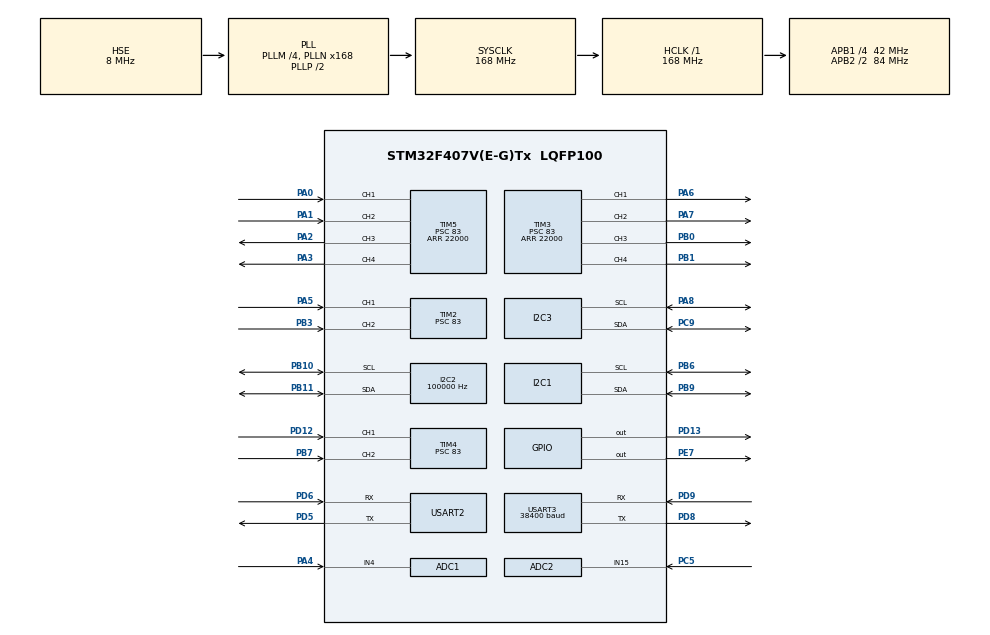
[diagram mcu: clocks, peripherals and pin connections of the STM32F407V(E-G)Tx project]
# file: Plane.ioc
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ADC1.Channel-0\#ChannelRegularConversion=ADC_CHANNEL_4
ADC1.ClockPrescaler=ADC_CLOCK_SYNC_PCLK_DIV4
ADC1.NbrOfConversionFlag=1
ADC1.Rank-0\#ChannelRegularConversion=1
ADC1.Resolution=ADC_RESOLUTION_12B
ADC1.SamplingTime-0\#ChannelRegularConversion=ADC_SAMPLETIME_3CYCLES
ADC1.master=1
ADC2.Channel-5\#ChannelRegularConversion=ADC_CHANNEL_15
ADC2.ClockPrescaler=ADC_CLOCK_SYNC_PCLK_DIV4
ADC2.NbrOfConversionFlag=1
ADC2.Rank-5\#ChannelRegularConversion=1
ADC2.SamplingTime-5\#ChannelRegularConversion=ADC_SAMPLETIME_3CYCLES
FREERTOS.Tasks01=defaultTask,24,128,StartDefaultTask,Default,NULL,Dynamic,NULL,NULL;sensorsUpdate,24,1024,sensorsUpdateTask,Default,NULL,Dynamic,NULL,NULL;modeUpdate,24,256,modeUpdateTask,Default,NULL,Dynamic,NULL,NULL;radioInputUpdat,24,512,radioInputUpdateTask,Default,NULL,Dynamic,NULL,NULL;loggerUpdate,8,1024,loggerUpdateTask,Default,NULL,Dynamic,NULL,NULL;actuatorsUpdate,24,512,actuatorsUpdateTask,Default,NULL,Dynamic,NULL,NULL;baroUpdate,8,1024,baroUpdateTask,Default,NULL,Dynamic,NULL,NULL;navUpdate,24,256,navUpdateTask,Default,NULL,Dynamic,NULL,NULL
FREERTOS.configTOTAL_HEAP_SIZE=61440
FREERTOS.configUSE_IDLE_HOOK=1
I2C1.I2C_Mode=I2C_Standard
I2C2.ClockSpeed=100000
I2C2.I2C_Mode=I2C_Standard
I2C2.OwnAddress=0x36
I2C3.I2C_Mode=I2C_Standard
Mcu.Family=STM32F4
Mcu.Name=STM32F407V(E-G)Tx
Mcu.Package=LQFP100
NVIC.PriorityGroup=NVIC_PRIORITYGROUP_4
NVIC.TIM2_IRQn=true\:5\:0\:false\:false\:true\:true\:true\:true
NVIC.TIM4_IRQn=true\:5\:0\:false\:false\:true\:true\:true\:true
NVIC.TIM5_IRQn=true\:5\:0\:false\:false\:true\:true\:true\:true
NVIC.TIM6_DAC_IRQn=true\:5\:0\:false\:false\:true\:true\:true\:true
NVIC.TIM8_TRG_COM_TIM14_IRQn=true\:0\:0\:false\:false\:true\:false\:false\:true
NVIC.TimeBase=TIM8_TRG_COM_TIM14_IRQn
NVIC.TimeBaseIP=TIM14
NVIC.USART2_IRQn=true\:5\:0\:false\:false\:true\:true\:true\:true
NVIC.USART3_IRQn=true\:5\:0\:false\:false\:true\:true\:true\:true
PA0-WKUP.Signal=S_TIM5_CH1
PA1.Signal=S_TIM5_CH2
PA2.GPIO_Speed=GPIO_SPEED_FREQ_HIGH
PA2.Signal=S_TIM5_CH3
PA3.Signal=S_TIM5_CH4
PA4.Signal=ADCx_IN4
PA5.Signal=S_TIM2_CH1_ETR
PA6.GPIO_Speed=GPIO_SPEED_FREQ_HIGH
PA6.Signal=S_TIM3_CH1
PA7.GPIO_Speed=GPIO_SPEED_FREQ_HIGH
PA7.Signal=S_TIM3_CH2
PA8.Mode=I2C
PA8.Signal=I2C3_SCL
PB0.GPIO_Speed=GPIO_SPEED_FREQ_HIGH
PB0.Signal=S_TIM3_CH3
PB1.GPIO_Speed=GPIO_SPEED_FREQ_HIGH
PB1.Signal=S_TIM3_CH4
PB10.Mode=I2C
PB10.Signal=I2C2_SCL
PB11.Mode=I2C
PB11.Signal=I2C2_SDA
PB3.Signal=S_TIM2_CH2
PB6.Mode=I2C
PB6.Signal=I2C1_SCL
PB7.Signal=S_TIM4_CH2
PB9.Mode=I2C
PB9.Signal=I2C1_SDA
PC5.Signal=ADCx_IN15
PC9.Mode=I2C
PC9.Signal=I2C3_SDA
PD12.Signal=S_TIM4_CH1
PD13.Signal=GPIO_Output
PD5.Mode=Asynchronous
PD5.Signal=USART2_TX
PD6.Mode=Asynchronous
PD6.Signal=USART2_RX
PD8.Mode=Asynchronous
PD8.Signal=USART3_TX
PD9.Mode=Asynchronous
PD9.Signal=USART3_RX
PE7.Signal=GPIO_Output
PH0-OSC_IN.Mode=HSE-External-Oscillator
PH0-OSC_IN.Signal=RCC_OSC_IN
PH1-OSC_OUT.Mode=HSE-External-Oscillator
PH1-OSC_OUT.Signal=RCC_OSC_OUT
ProjectManager.HeapSize=0x60000
ProjectManager.StackSize=0x80000
ProjectManager.TargetToolchain=STM32CubeIDE
RCC.48MHZClocksFreq_Value=84000000
RCC.AHBFreq_Value=168000000
RCC.APB1CLKDivider=RCC_HCLK_DIV4
RCC.APB1Freq_Value=42000000
RCC.APB1TimFreq_Value=84000000
RCC.APB2CLKDivider=RCC_HCLK_DIV2
RCC.APB2Freq_Value=84000000
RCC.APB2TimFreq_Value=168000000
RCC.CortexFreq_Value=168000000
RCC.HCLKFreq_Value=168000000
RCC.HSE_VALUE=8000000
RCC.HSI_VALUE=16000000
RCC.LSE_VALUE=32768
RCC.PLLM=4
RCC.PLLN=168
RCC.PLLSourceVirtual=RCC_PLLSOURCE_HSE
RCC.SYSCLKFreq_VALUE=168000000
RCC.SYSCLKSource=RCC_SYSCLKSOURCE_PLLCLK
RCC.VCOOutputFreq_Value=336000000
SH.ADCx_IN15.0=ADC2_IN15,IN15
SH.ADCx_IN4.0=ADC1_IN4,IN4
SH.S_TIM2_CH1_ETR.0=TIM2_CH1,Input_Capture1_from_TI1
SH.S_TIM2_CH2.0=TIM2_CH2,Input_Capture2_from_TI2
SH.S_TIM3_CH1.0=TIM3_CH1,PWM Generation1 CH1
SH.S_TIM3_CH2.0=TIM3_CH2,PWM Generation2 CH2
SH.S_TIM3_CH3.0=TIM3_CH3,PWM Generation3 CH3
SH.S_TIM3_CH4.0=TIM3_CH4,PWM Generation4 CH4
SH.S_TIM4_CH1.0=TIM4_CH1,Input_Capture1_from_TI1
SH.S_TIM4_CH2.0=TIM4_CH2,Input_Capture2_from_TI2
SH.S_TIM5_CH1.0=TIM5_CH1,Input_Capture1_from_TI1
SH.S_TIM5_CH2.0=TIM5_CH2,Input_Capture2_from_TI2
SH.S_TIM5_CH3.0=TIM5_CH3,PWM Generation3 CH3
SH.S_TIM5_CH4.0=TIM5_CH4,PWM Generation4 CH4
TIM2.Channel-Input_Capture1_from_TI1=TIM_CHANNEL_1
TIM2.Channel-Input_Capture2_from_TI2=TIM_CHANNEL_2
TIM2.Period=65536
TIM2.Prescaler=83
TIM3.Channel-PWM\ Generation1\ CH1=TIM_CHANNEL_1
TIM3.Channel-PWM\ Generation2\ CH2=TIM_CHANNEL_2
TIM3.Channel-PWM\ Generation3\ CH3=TIM_CHANNEL_3
TIM3.Channel-PWM\ Generation4\ CH4=TIM_CHANNEL_4
TIM3.Period=22000
TIM3.Prescaler=83
TIM4.Channel-Input_Capture1_from_TI1=TIM_CHANNEL_1
TIM4.Channel-Input_Capture2_from_TI2=TIM_CHANNEL_2
TIM4.Prescaler=83
TIM5.Channel-Input_Capture1_from_TI1=TIM_CHANNEL_1
TIM5.Channel-Input_Capture2_from_TI2=TIM_CHANNEL_2
TIM5.Channel-PWM\ Generation3\ CH3=TIM_CHANNEL_3
TIM5.Channel-PWM\ Generation4\ CH4=TIM_CHANNEL_4
TIM5.Period=22000
TIM5.Prescaler=83
TIM6.Period=99
TIM6.Prescaler=83
TIM6.TIM_MasterOutputTrigger=TIM_TRGO_UPDATE
USART2.VirtualMode=VM_ASYNC
USART3.BaudRate=38400
USART3.VirtualMode=VM_ASYNC
VP_FREERTOS_VS_CMSIS_V2.Mode=CMSIS_V2
VP_SYS_VS_tim14.Mode=TIM14
VP_TIM2_VS_ClockSourceINT.Mode=Internal
VP_TIM3_VS_ClockSourceINT.Mode=Internal
VP_TIM4_VS_ClockSourceINT.Mode=Internal
VP_TIM5_VS_ClockSourceINT.Mode=Internal
VP_TIM6_VS_ClockSourceINT.Mode=Enable_Timer
board=custom

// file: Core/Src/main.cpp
/* USER CODE BEGIN Header */
/**
  ******************************************************************************
  * @file           : main.c
  * @brief          : Main program body
  ******************************************************************************
  * @attention
  *
  * <h2><center>&copy; Copyright (c) 2020 STMicroelectronics.
  * All rights reserved.</center></h2>
  *
  * This software component is licensed by ST under BSD 3-Clause license,
  * the "License"; You may not use this file except in compliance with the
  * License. You may obtain a copy of the License at:
  *                        opensource.org/licenses/BSD-3-Clause
  *
  ******************************************************************************
  */
/* USER CODE END Header */
#include "main.h"
#include "cmsis_os.h"

/* USER CODE BEGIN Includes */
#include "math.h"
#include <stdio.h>
#include "Servo/Servo.h"
#include "Beeper/Beeper.h"
#include "Baro/MS5611.h"
#include "AirSpeed/MS4525DO.h"
#include "Gyro/bno055.h"
#include "PIReg/PIReg.h"
#include "Beta/P3002.h"
#include "PWMCapturer/PWMCapturer.h"
#include "Gps/Gps.h"
#include "Modes/Nav/Nav.h"
/* USER CODE END Includes */

/* USER CODE BEGIN PD */

//--------------------DEBUG DEFINES-----------------------

#define BARO_DEBUG 0
#define GYRO_DEBUG 1
#define AIR_DEBUG 2
#define RADIO_DEBUG 3
#define BETA_DEBUG 4

//#define DEBUG_MODE AIR_DEBUG//раскоментить для отладки. присвоить одно из значений выше

/* USER CODE END PD */

ADC_HandleTypeDef hadc1;
ADC_HandleTypeDef hadc2;

I2C_HandleTypeDef hi2c1;
I2C_HandleTypeDef hi2c2;
I2C_HandleTypeDef hi2c3;

TIM_HandleTypeDef htim2;
TIM_HandleTypeDef htim3;
TIM_HandleTypeDef htim4;
TIM_HandleTypeDef htim5;
TIM_HandleTypeDef htim6;

UART_HandleTypeDef huart2;
UART_HandleTypeDef huart3;

/* USER CODE BEGIN PV */
enum Channels
{
	THR,
	ELEV,
	AIL1,
	AIL2,
	RUD,
	SWITCHA,
	SLIDER,
	CHANNELS_ARRAY_SIZE,
};
enum Sensors
{
	BARO,
	AIR,
	GYROX,
	GYROY,
	GYROZ,
	BAROVY,
	NZ,
	TETA,
	GAMMA,
	PSI,
	LATITUDE,
	LONGITUDE,
	GPS_SPEED,
	TRACK,
	GPS_VALID,
	BAROFILTERED,
	SENSOR_ARRAY_SIZE, //этот элемент всегда должен быть последним в енуме
};
enum Modes
{
	PREFLIGHTCHECK,
	DIRECT,
	OMEGA_STAB,
	COMMAND,
	DIRECT_FLAPS,
	OMEGA_STAB_K_TUNE,
	OMEGA_STAB_I_TUNE,
	VY_STAB_K_TUNE,
	NAV,
};
enum Logs
{
	OMEGA_X_ZAD,
	OMEGA_Y_ZAD,
	OMEGA_Z_ZAD,
	K_PR_OMEGA_X,
	K_INT_OMEGA_X,
	K_PR_OMEGA_Y,
	K_INT_OMEGA_Y,
	K_PR_OMEGA_Z,
	K_INT_OMEGA_Z,
	VY_ZAD,
	ALT_FILTERED,
	OMEGA_TURN_ZAD,
	GAMMA_ZAD,
	ALT_ZAD,
	LOG_ARRAY_SIZE,
};

enum Omega_targets
{
	X,
	Y,
	Z,
	OMEGA_TURN_FROM_NAV,
	OMEGA_ARRAY_SIZE,
};

enum Velocity_targets
{
	VY,
	VELOCITY_ARRAY_SIZE,
};

//--------------------Threads-----------------------

/* Definitions for defaultTask */
extern osThreadId_t defaultTaskHandle;
extern const osThreadAttr_t defaultTask_attributes;

/* Definitions for sensorsUpdate */
extern osThreadId_t sensorsUpdateHandle;
extern const osThreadAttr_t sensorsUpdate_attributes;

/* Definitions for modeUpdate */
extern osThreadId_t modeUpdateHandle;
extern const osThreadAttr_t modeUpdate_attributes;

/* Definitions for radioInputUpdat */
extern osThreadId_t radioInputUpdatHandle;
extern const osThreadAttr_t radioInputUpdat_attributes;

/* Definitions for actuatorsUpdate */
extern osThreadId_t actuatorsUpdateHandle;
extern const osThreadAttr_t actuatorsUpdate_attributes;

/* Definitions for loggerUpdate */
extern osThreadId_t loggerUpdateHandle;
extern const osThreadAttr_t loggerUpdate_attributes;

/* Definitions for baroUpdate */
extern osThreadId_t baroUpdateHandle;
extern const osThreadAttr_t baroUpdate_attributes;

/* Definitions for navUpdate */
extern osThreadId_t navUpdateHandle;
extern const osThreadAttr_t navUpdate_attributes;

//-------------------My Global VARs--------------------------
const uint16_t WHAIT_FOR_RADIO_MS = 5000;

uint8_t g_activate_flaps = 0;

double k_pr_omega_x = 7.6;
double k_int_omega_x = 5.3;
double k_pr_omega_z = 7.6;
double k_int_omega_z = 5.3;
double k_pr_omega_y = 8.0;
double k_int_omega_y = 6.0;

double k_pr_Vy = 6.5;
double k_int_Vy = 2.0;

const uint8_t num_of_coeff_ref_points = 5;

double speed_ref_points[num_of_coeff_ref_points] = {5.0, 10.0, 15.0, 20.0, 30.0};

double k_pr_omega_x_points[num_of_coeff_ref_points] = {8.0, 6.0, 5.0, 4.0, 1.5};
double k_int_omega_x_points[num_of_coeff_ref_points] = {7.5, 7.0, 5.5, 4.5, 2.0};

double k_pr_omega_z_points[num_of_coeff_ref_points] = {8.5, 6.0, 5.0, 4.5, 2.0};
double k_int_omega_z_points[num_of_coeff_ref_points] = {7.5, 7.0, 5.5, 4.5, 2.0};

double k_pr_omega_y_points[num_of_coeff_ref_points] = {9.5, 7.0, 5.5, 4.5, 2.0};
double k_int_omega_y_points[num_of_coeff_ref_points] = {7.5, 6.0, 5.5, 4.5, 1.5};
//------------------------RC---------------------------------
//extern RcChannel thr_rc, elev_rc, ail_rc, rud_rc, switch_rc, slider_rc;

PWMCapturer thr_rc(&htim2, 1, 989, 1500, 2012, 5),
			elev_rc(&htim2, 2, 989, 1500, 2012, 5),
			ail_rc(&htim4, 1, 989, 1500, 2012, 5),
			rud_rc(&htim4, 2, 989, 1500, 2012, 5),
			switch_rc(&htim5, 1, 989, 2012, 5),
			slider_rc(&htim5, 2, 989, 1500, 2012, 5);

void IcHandlerTim2(TIM_HandleTypeDef *htim)
{
	switch ( (uint8_t) htim->Channel )
	{
		case HAL_TIM_ACTIVE_CHANNEL_1:
		{
			thr_rc.calculatePulseWidth();
		} break;
		case HAL_TIM_ACTIVE_CHANNEL_2:
		{
			elev_rc.calculatePulseWidth();
		} break;
		case HAL_TIM_ACTIVE_CHANNEL_3:
		{

		} break;
		case HAL_TIM_ACTIVE_CHANNEL_4:
		{

		} break;
	}
}

void IcHandlerTim5(TIM_HandleTypeDef *htim)
{
	switch ( (uint8_t) htim->Channel )
	{
		case HAL_TIM_ACTIVE_CHANNEL_1:
		{
			switch_rc.calculatePulseWidth();
		} break;
		case HAL_TIM_ACTIVE_CHANNEL_2:
		{
			slider_rc.calculatePulseWidth();
		} break;
		case HAL_TIM_ACTIVE_CHANNEL_3:
		{

		} break;
		case HAL_TIM_ACTIVE_CHANNEL_4:
		{

		} break;
	}
}

void IcHandlerTim4(TIM_HandleTypeDef *htim)
{
	switch ( (uint8_t) htim->Channel )
	{
		case HAL_TIM_ACTIVE_CHANNEL_1:
		{
			ail_rc.calculatePulseWidth();
		} break;
		case HAL_TIM_ACTIVE_CHANNEL_2:
		{
			rud_rc.calculatePulseWidth();
		} break;
		case HAL_TIM_ACTIVE_CHANNEL_3:
		{

		} break;
		case HAL_TIM_ACTIVE_CHANNEL_4:
		{

		} break;
	}
}

//GPS-----------------------------------------------------------
Gps gps = Gps(&huart3, GPIOE, GPIO_PIN_7);

//Route---------------------------------------------------------
Nav navigator;

void HAL_UART_RxCpltCallback(UART_HandleTypeDef *huart)
{
	if(huart == &huart3)
		gps.UartCallback();
}
//-----------------------------------------------------------

Servo 	thr_servo(&htim3, 1),
		elev_servo(&htim3, 2),
		ail_servo_1(&htim3, 3),
		ail_servo_2(&htim3, 4),
		rud_servo(&htim5, 4),
		ers_servo(&htim5, 3);

int g_flaperon_delta = 0;

//----------------------INIT-------------------------------

uint32_t output[5] = {0};
uint32_t rc_input[CHANNELS_ARRAY_SIZE] = {1500};
double data_input[SENSOR_ARRAY_SIZE] = {0.0};
double logger_data[LOG_ARRAY_SIZE] = {0.0};
double omega_target[OMEGA_ARRAY_SIZE] = {0.0};
double velocity_target[VELOCITY_ARRAY_SIZE] = {0.0};

char str[150] = "\0";

uint8_t current_mode = 0;
uint8_t integral_reset_flag = 0;
uint8_t reset_route = 0;
//-----------------------------------------------------------
/* USER CODE END PV */

void SystemClock_Config(void);
static void MX_GPIO_Init(void);
static void MX_TIM2_Init(void);
static void MX_USART2_UART_Init(void);
static void MX_TIM3_Init(void);
static void MX_TIM5_Init(void);
static void MX_ADC1_Init(void);
static void MX_I2C1_Init(void);
static void MX_ADC2_Init(void);
static void MX_I2C3_Init(void);
static void MX_TIM6_Init(void);
static void MX_TIM4_Init(void);
static void MX_I2C2_Init(void);
static void MX_USART3_UART_Init(void);
void StartDefaultTask(void *argument);
void sensorsUpdateTask(void *argument);
void modeUpdateTask(void *argument);
void radioInputUpdateTask(void *argument);
void loggerUpdateTask(void *argument);
void actuatorsUpdateTask(void *argument);
void baroUpdateTask(void *argument);
void navUpdateTask(void *argument);

/* USER CODE BEGIN PFP */

Wp waypoint[6];
void setRoute()
{
	waypoint[0].setWpCoord(55.582540, 38.079028, 80);
	waypoint[0].setWpAsHome();
	waypoint[1].setWpCoord(55.581607, 38.078521, 60);
	waypoint[2].setWpCoord(55.580585, 38.080667, 70);
	waypoint[3].setWpCoord(55.580352, 38.083807, 50);
	waypoint[4].setWpCoord(55.583995, 38.082805, 30);
	waypoint[5].setWpCoord(55.583582, 38.080629, 20);
	waypoint[5].setWpAsFAF();
	waypoint[6].setWpCoord(55.582540, 38.079028, 10);
	waypoint[6].setWpAsLast();
}

void flapsUpdate(uint8_t activate_flaps)
{
	int flaperon_delta_limit = 340; // 2/6 from the whole range

	if (activate_flaps)
	{
		g_flaperon_delta += 1;
	}
	else
	{
		g_flaperon_delta += -1;
	}

	//limitations
	if (g_flaperon_delta >= flaperon_delta_limit)
	{
		g_flaperon_delta = flaperon_delta_limit;
	}
	else
		if (g_flaperon_delta <= 0)
		{
			g_flaperon_delta = 0;
		}
}
void updateRcInput()
{
	rc_input[THR] = thr_rc.getPulseWidth();
	rc_input[ELEV] = elev_rc.getPulseWidthDif();//dif
	rc_input[AIL1] = ail_rc.getPulseWidth();
	rc_input[AIL2] = ail_rc.getPulseWidth();//dif
	rc_input[RUD] = rud_rc.getPulseWidthDif();
	rc_input[SWITCHA] = switch_rc.getPulseWidth();
	rc_input[SLIDER] = slider_rc.getPulseWidth();
}
void updateActuators()
{
	thr_servo.setPositionMicroSeconds(output[THR]);
	elev_servo.setPositionMicroSeconds(output[ELEV]);
	ail_servo_1.setPositionMicroSeconds(output[AIL1]);
	ail_servo_2.setPositionMicroSeconds(output[AIL2]);
	rud_servo.setPositionMicroSeconds(output[RUD]);
}
void preFlightCheckUpdate()
{
	output[THR] = 989;
	output[ELEV] = rc_input[ELEV];
	output[AIL1] = rc_input[AIL1];
	output[AIL2] = rc_input[AIL2];
	output[RUD] = rc_input[RUD];
}
void directUpdate()
{
	output[THR] = rc_input[THR];
	output[ELEV] = rc_input[ELEV];
	output[AIL1] = rc_input[AIL1]-g_flaperon_delta;
	output[AIL2] = rc_input[AIL2]+g_flaperon_delta;;
	output[RUD] = rc_input[RUD];
}

void stabOmegaTgtCalc(void)
{
	omega_target[X] = -(0.234375*rc_input[AIL2] - 351.5625);
	omega_target[Y] = -(0.234375*rc_input[RUD] - 351.5625);
	omega_target[Z] = (0.234375*rc_input[ELEV] - 350.0625);
}
void stabOmegaUpdate()
{
	//------------------Regulators INIT------------------------
	double int_lim_omega_z = 1000, int_lim_omega_x = 1000, int_lim_omega_y = 1000;
	//double omega_zad_x = 0, omega_zad_y = 0, omega_zad_z = 0;
	static PIReg omega_x_PI_reg(k_pr_omega_x, k_int_omega_x, 0.01, int_lim_omega_x, speed_ref_points, k_pr_omega_x_points, k_int_omega_x_points, num_of_coeff_ref_points);
	static PIReg omega_y_PI_reg(k_pr_omega_y, k_int_omega_y, 0.01, int_lim_omega_y, speed_ref_points, k_pr_omega_y_points, k_int_omega_y_points, num_of_coeff_ref_points);
	static PIReg omega_z_PI_reg(k_pr_omega_z, k_int_omega_z, 0.01, int_lim_omega_z, speed_ref_points, k_pr_omega_z_points, k_int_omega_z_points, num_of_coeff_ref_points);
	//---------------------------------------------------------

	if(integral_reset_flag)
	{
		omega_x_PI_reg.integralReset();
		omega_y_PI_reg.integralReset();
		omega_z_PI_reg.integralReset();
		integral_reset_flag = 0;
	}

	logger_data[OMEGA_X_ZAD] = omega_target[X];
	logger_data[OMEGA_Y_ZAD] = omega_target[Y];
	logger_data[OMEGA_Z_ZAD] = omega_target[Z];

	output[THR] = rc_input[THR];
	output[ELEV] = (int)(1500+0.4*omega_z_PI_reg.getOutput());
	output[AIL1] = (int)(1500-0.4*omega_x_PI_reg.getOutput());
	output[AIL2] = (int)(1500-0.4*omega_x_PI_reg.getOutput());
	output[RUD] = (int)(1500-0.4*omega_y_PI_reg.getOutput());

	omega_x_PI_reg.calcGainParams(data_input[AIR]); //airspeed hardcoded due to sensor fault
	omega_x_PI_reg.setError(omega_target[X] - data_input[GYROX]);
	omega_x_PI_reg.calcOutput();

	omega_y_PI_reg.calcGainParams(data_input[AIR]); //airspeed hardcoded due to sensor fault
	omega_y_PI_reg.setError(omega_target[Y] - data_input[GYROY]);
	omega_y_PI_reg.calcOutput();

	omega_z_PI_reg.calcGainParams(data_input[AIR]); //airspeed hardcoded due to sensor fault
	omega_z_PI_reg.setError(omega_target[Z] - data_input[GYROZ]);
	omega_z_PI_reg.calcOutput();

	logger_data[K_PR_OMEGA_X] = omega_x_PI_reg.getProportGain();
	logger_data[K_INT_OMEGA_X] = omega_x_PI_reg.getIntGain();

	logger_data[K_PR_OMEGA_Y] = omega_y_PI_reg.getProportGain();
	logger_data[K_INT_OMEGA_Y] = omega_y_PI_reg.getIntGain();

	logger_data[K_PR_OMEGA_Z] = omega_z_PI_reg.getProportGain();
	logger_data[K_INT_OMEGA_Z] = omega_z_PI_reg.getIntGain();

}

void commandModeUpdate(double omega_turn_tgt, double vy_tgt)
{
	//------------------Local vars INIT------------------------
	const double RAD2DEG = 57.2958;
	const double DEG2RAD = 1/RAD2DEG;
	const double g = 9.81;

	double gamma_tgt = 0.0;
	double k_pr_gamma = 1.5;

	double int_lim_Vy = 60;

	double omega_x_roll_tgt = 0.0; // component of omega_x target from target roll angle
	double omega_x_turn_tgt = 0.0; // component of omega_x target from coordinated turn

	double omega_y_turn_tgt = 0.0; // component of omega_y target from coordinated turn

	double omega_z_turn_tgt = 0.0; // component of omega_z target from coordinated turn
	double omega_z_vy_tgt = 0.0; // component of omega_z target from vertical speed stab

	//------------------Regulators INIT------------------------
	static PIReg vy_PI_reg(k_pr_Vy, k_int_Vy, 0.01, int_lim_Vy);

	//---------------------------------------------------------

	if(integral_reset_flag)
	{
		vy_PI_reg.integralReset();
		integral_reset_flag = 0;
	}

	//---------------Vertical speed stab-----------------------
	/*if (abs(vy_tgt) < 0.2) //to set zero when the stick is in neutral

	{
		vy_tgt = 0;
	}*/

	logger_data[VY_ZAD] = vy_tgt;

	vy_PI_reg.setError(vy_tgt - data_input[BAROVY]);
	vy_PI_reg.calcOutput();
	//---------------------------------------------------------

	//--------------Omega and Roll target calc-----------------

	if (abs(omega_turn_tgt) < 1.0) //to set zero when the stick is in neutral
	{
		omega_turn_tgt = 0;
	}
	logger_data[OMEGA_TURN_ZAD] = omega_turn_tgt;

	gamma_tgt = -atan((data_input[AIR]*omega_turn_tgt*DEG2RAD)/g);
	gamma_tgt = gamma_tgt*RAD2DEG;
	logger_data[GAMMA_ZAD] = gamma_tgt;
	//---------------------------------------------------------

	//---------------Omega coord turn calc---------------------
	omega_x_roll_tgt = k_pr_gamma*(gamma_tgt - data_input[GAMMA]);
	omega_x_turn_tgt = omega_turn_tgt*sin(data_input[TETA]*DEG2RAD);
	omega_target[X] = omega_x_roll_tgt + omega_x_turn_tgt; //deg/s

	omega_y_turn_tgt = omega_turn_tgt*cos(data_input[TETA]*DEG2RAD)*cos(data_input[GAMMA]*DEG2RAD);
	omega_target[Y] = omega_y_turn_tgt; //deg/s

	omega_z_turn_tgt = omega_turn_tgt*cos(data_input[TETA]*DEG2RAD)*sin((-data_input[GAMMA]*DEG2RAD));
	omega_z_vy_tgt = vy_PI_reg.getOutput();
	omega_target[Z] = omega_z_vy_tgt + omega_z_turn_tgt; //deg/s
	//---------------------------------------------------------
}
double stabAltCalcTgtVy()
{
	double vy_tgt = 0.0;
	double alt_tgt = navigator.getActiveWpAlt();
	double k_altdif_to_vy = 0.2;

	logger_data[ALT_ZAD] = alt_tgt;

	vy_tgt = k_altdif_to_vy * ( alt_tgt - data_input[BAROFILTERED] );

	if (vy_tgt > 5.0)
	{
		vy_tgt = 5.0;
	}
	else if (vy_tgt < -5.0)
	{
		vy_tgt = -5.0;
	}

	return vy_tgt;

}

double landCalcTgtVy()
{
	static double vy_tgt = 0.0;
	static uint8_t counter = 0;

	const double RAD2DEG = 57.2958;
	const double DEG2RAD = 1/RAD2DEG;
	const double TETA_GS = -3.0; //glideslope angle in degrees
	const double FLARE_HEIGHT = 12.0; //height of the flare maneuver start in meters

	if (data_input[BAROFILTERED] > FLARE_HEIGHT)
	{
		vy_tgt = data_input[AIR]*sin(TETA_GS*DEG2RAD);
		counter = 0;
	}
	else
	{
		counter++;
	}

	if ((data_input[BAROFILTERED] <= FLARE_HEIGHT) && (counter > 50)) // if height is below flare height for 0.05 seconds
	{
		vy_tgt = vy_tgt + 0.003; //vy_tgt will be increased by by 3m/s in 1 second
		if (vy_tgt > 0.0)
		{
			vy_tgt = 0.0;
		}
		counter = 0;
	}

	return vy_tgt;
}

void navModeUpdate()
{
	static uint8_t wp_num = 1; // нулевая точка - это дом, маршрут начинается с первой точки

	if(reset_route)
	{
		wp_num = 1;
		navigator.follow_gs = 0;
		reset_route = false;
	}

	navigator.updatePlanePos(data_input[LATITUDE], data_input[LONGITUDE], data_input[BARO], data_input[TRACK], data_input[GPS_SPEED]);
	navigator.updateActiveWp(waypoint[wp_num]);

	omega_target[OMEGA_TURN_FROM_NAV] = navigator.getOmegaTurnToWp();

	if( navigator.getDistanceToActiveWp() <= 10 )
	{
		if( waypoint[wp_num].isFAF() == 0)
		{
			if( waypoint[wp_num].isHome() == 0 )
				if( waypoint[wp_num].isLast() == 0 )
					wp_num++;
				else
					wp_num = 0; // в качестве активной точки устанавлиается дом
			else
			{
				wp_num = 1; // в качестве активной точки устанавлиается 1й ппм
			}
		}
		else
		{
			navigator.follow_gs = 1;
			wp_num++;
		}
	}
}

void setMode()
{
	static uint8_t prev_mode = 0;

	if(prev_mode != current_mode)
	{
		g_activate_flaps = false;
		integral_reset_flag = true;
		reset_route = true;
	}
	prev_mode = current_mode;

	if(switch_rc.matchMinValue() || switch_rc.matchMaxValue())
		current_mode = PREFLIGHTCHECK;
	else
	{
		if(switch_rc.isInRange(1000, 1100))
		{
			current_mode = DIRECT;
		}
		else
		{
			if(switch_rc.isInRange(1100, 1300) || switch_rc.isInRange(1500, 1600))
				current_mode = OMEGA_STAB;
			if(switch_rc.isInRange(1400, 1500))
				current_mode = COMMAND;
			if(switch_rc.isInRange(1700, 1800))
				current_mode = NAV;
			if(switch_rc.isInRange(1900, 1950))
				current_mode = DIRECT_FLAPS;
		}
	}
}
void updateModeState()
{
	switch(current_mode)
	{
		case PREFLIGHTCHECK: preFlightCheckUpdate(); break;
		case DIRECT: directUpdate(); break;
		case OMEGA_STAB: {
				stabOmegaTgtCalc();
				stabOmegaUpdate();
			}break;
		case COMMAND: {
				commandModeUpdate( (-(-0.1173*(double)rc_input[AIL1] + 176.0097)), (0.01953125*(double)rc_input[ELEV] - 29.3164062) );
				stabOmegaUpdate();
			}break;
		case DIRECT_FLAPS: {
				g_activate_flaps = true;
				directUpdate();
			}break;
		case NAV: {

				velocity_target[VY] = navigator.follow_gs ? landCalcTgtVy() : stabAltCalcTgtVy();
				commandModeUpdate( omega_target[OMEGA_TURN_FROM_NAV], velocity_target[VY]);
				stabOmegaUpdate();
			}break;
	}
}

/* USER CODE END PFP */

int main(void)
{

  /* MCU Configuration--------------------------------------------------------*/

  /* Reset of all peripherals, Initializes the Flash interface and the Systick. */
  HAL_Init();

  /* Configure the system clock */
  SystemClock_Config();

  /* Initialize all configured peripherals */
  MX_GPIO_Init();
  MX_TIM2_Init();
  MX_USART2_UART_Init();
  MX_TIM3_Init();
  MX_TIM5_Init();
  MX_ADC1_Init();
  MX_I2C1_Init();
  MX_ADC2_Init();
  MX_I2C3_Init();
  MX_TIM6_Init();
  MX_TIM4_Init();
  MX_I2C2_Init();
  MX_USART3_UART_Init();
  /* USER CODE BEGIN 2 */

  	//-------------------Radio PWM IC INIT--------------------------
	HAL_TIM_RegisterCallback(&htim2, HAL_TIM_IC_CAPTURE_CB_ID, IcHandlerTim2);
	HAL_TIM_RegisterCallback(&htim4, HAL_TIM_IC_CAPTURE_CB_ID, IcHandlerTim4);
	HAL_TIM_RegisterCallback(&htim5, HAL_TIM_IC_CAPTURE_CB_ID, IcHandlerTim5);
	HAL_TIM_IC_Start_IT(&htim2, TIM_CHANNEL_1);//PA5 thr input
	HAL_TIM_IC_Start_IT(&htim2, TIM_CHANNEL_2);//PB3 elev input
	HAL_TIM_IC_Start_IT(&htim4, TIM_CHANNEL_1);//PD12 ail input
	HAL_TIM_IC_Start_IT(&htim4, TIM_CHANNEL_2);//PB7 rud input
	HAL_TIM_IC_Start_IT(&htim5, TIM_CHANNEL_1);//PA0 switch input
	HAL_TIM_IC_Start_IT(&htim5, TIM_CHANNEL_2);//PA1 slider input

	//-------------------Servo PWM INIT--------------------------
	HAL_TIM_PWM_Start(&htim3, TIM_CHANNEL_1);//PA6 thr output
	HAL_TIM_PWM_Start(&htim3, TIM_CHANNEL_2);//PA7 elev servo output
	HAL_TIM_PWM_Start(&htim3, TIM_CHANNEL_3);//PB0 ail servo 1 output
	HAL_TIM_PWM_Start(&htim3, TIM_CHANNEL_4);//PB1 ail servo 2 output
	HAL_TIM_PWM_Start(&htim5, TIM_CHANNEL_4);//PA3 rud servo 2 output
	HAL_TIM_PWM_Start(&htim5, TIM_CHANNEL_3);//PA2 ers servo 2 output

	//-------------------Sensors INIT--------------------------
	//Beeper beeper(GPIOD, GPIO_PIN_13);
	HAL_Delay(1000);
	//---------------------------------------------------------

  /* USER CODE END 2 */

  /* Init scheduler */
  osKernelInitialize();

  /* Create the thread(s) */
  /* creation of defaultTask */
  defaultTaskHandle = osThreadNew(StartDefaultTask, NULL, &defaultTask_attributes);

  /* creation of sensorsUpdate */
  sensorsUpdateHandle = osThreadNew(sensorsUpdateTask, NULL, &sensorsUpdate_attributes);

  /* creation of modeUpdate */
  modeUpdateHandle = osThreadNew(modeUpdateTask, NULL, &modeUpdate_attributes);

  /* creation of radioInputUpdat */
  radioInputUpdatHandle = osThreadNew(radioInputUpdateTask, NULL, &radioInputUpdat_attributes);

  /* creation of loggerUpdate */
  loggerUpdateHandle = osThreadNew(loggerUpdateTask, NULL, &loggerUpdate_attributes);

  /* creation of actuatorsUpdate */
  actuatorsUpdateHandle = osThreadNew(actuatorsUpdateTask, NULL, &actuatorsUpdate_attributes);

  /* creation of baroUpdate */
  baroUpdateHandle = osThreadNew(baroUpdateTask, NULL, &baroUpdate_attributes);

  /* creation of navUpdate */
  navUpdateHandle = osThreadNew(navUpdateTask, NULL, &navUpdate_attributes);

  /* Start scheduler */
  osKernelStart();

  /* We should never get here as control is now taken by the scheduler */
  /* Infinite loop */
	while (1)
	{

	}
}

void SystemClock_Config(void)
{
  RCC_OscInitTypeDef RCC_OscInitStruct = {0};
  RCC_ClkInitTypeDef RCC_ClkInitStruct = {0};

  /** Configure the main internal regulator output voltage
  */
  __HAL_RCC_PWR_CLK_ENABLE();
  __HAL_PWR_VOLTAGESCALING_CONFIG(PWR_REGULATOR_VOLTAGE_SCALE1);
  /** Initializes the RCC Oscillators according to the specified parameters
  * in the RCC_OscInitTypeDef structure.
  */
  RCC_OscInitStruct.OscillatorType = RCC_OSCILLATORTYPE_HSE;
  RCC_OscInitStruct.HSEState = RCC_HSE_ON;
  RCC_OscInitStruct.PLL.PLLState = RCC_PLL_ON;
  RCC_OscInitStruct.PLL.PLLSource = RCC_PLLSOURCE_HSE;
  RCC_OscInitStruct.PLL.PLLM = 4;
  RCC_OscInitStruct.PLL.PLLN = 168;
  RCC_OscInitStruct.PLL.PLLP = RCC_PLLP_DIV2;
  RCC_OscInitStruct.PLL.PLLQ = 4;
  if (HAL_RCC_OscConfig(&RCC_OscInitStruct) != HAL_OK)
  {
    Error_Handler();
  }
  /** Initializes the CPU, AHB and APB buses clocks
  */
  RCC_ClkInitStruct.ClockType = RCC_CLOCKTYPE_HCLK|RCC_CLOCKTYPE_SYSCLK
                              |RCC_CLOCKTYPE_PCLK1|RCC_CLOCKTYPE_PCLK2;
  RCC_ClkInitStruct.SYSCLKSource = RCC_SYSCLKSOURCE_PLLCLK;
  RCC_ClkInitStruct.AHBCLKDivider = RCC_SYSCLK_DIV1;
  RCC_ClkInitStruct.APB1CLKDivider = RCC_HCLK_DIV4;
  RCC_ClkInitStruct.APB2CLKDivider = RCC_HCLK_DIV2;

  if (HAL_RCC_ClockConfig(&RCC_ClkInitStruct, FLASH_LATENCY_5) != HAL_OK)
  {
    Error_Handler();
  }
}

static void MX_ADC1_Init(void)
{

  ADC_ChannelConfTypeDef sConfig = {0};

  /** Configure the global features of the ADC (Clock, Resolution, Data Alignment and number of conversion)
  */
  hadc1.Instance = ADC1;
  hadc1.Init.ClockPrescaler = ADC_CLOCK_SYNC_PCLK_DIV4;
  hadc1.Init.Resolution = ADC_RESOLUTION_12B;
  hadc1.Init.ScanConvMode = DISABLE;
  hadc1.Init.ContinuousConvMode = DISABLE;
  hadc1.Init.DiscontinuousConvMode = DISABLE;
  hadc1.Init.ExternalTrigConvEdge = ADC_EXTERNALTRIGCONVEDGE_NONE;
  hadc1.Init.ExternalTrigConv = ADC_SOFTWARE_START;
  hadc1.Init.DataAlign = ADC_DATAALIGN_RIGHT;
  hadc1.Init.NbrOfConversion = 1;
  hadc1.Init.DMAContinuousRequests = DISABLE;
  hadc1.Init.EOCSelection = ADC_EOC_SINGLE_CONV;
  if (HAL_ADC_Init(&hadc1) != HAL_OK)
  {
    Error_Handler();
  }
  /** Configure for the selected ADC regular channel its corresponding rank in the sequencer and its sample time.
  */
  sConfig.Channel = ADC_CHANNEL_4;
  sConfig.Rank = 1;
  sConfig.SamplingTime = ADC_SAMPLETIME_3CYCLES;
  if (HAL_ADC_ConfigChannel(&hadc1, &sConfig) != HAL_OK)
  {
    Error_Handler();
  }

}

static void MX_ADC2_Init(void)
{

  ADC_ChannelConfTypeDef sConfig = {0};

  /** Configure the global features of the ADC (Clock, Resolution, Data Alignment and number of conversion)
  */
  hadc2.Instance = ADC2;
  hadc2.Init.ClockPrescaler = ADC_CLOCK_SYNC_PCLK_DIV4;
  hadc2.Init.Resolution = ADC_RESOLUTION_12B;
  hadc2.Init.ScanConvMode = DISABLE;
  hadc2.Init.ContinuousConvMode = DISABLE;
  hadc2.Init.DiscontinuousConvMode = DISABLE;
  hadc2.Init.ExternalTrigConvEdge = ADC_EXTERNALTRIGCONVEDGE_NONE;
  hadc2.Init.ExternalTrigConv = ADC_SOFTWARE_START;
  hadc2.Init.DataAlign = ADC_DATAALIGN_RIGHT;
  hadc2.Init.NbrOfConversion = 1;
  hadc2.Init.DMAContinuousRequests = DISABLE;
  hadc2.Init.EOCSelection = ADC_EOC_SINGLE_CONV;
  if (HAL_ADC_Init(&hadc2) != HAL_OK)
  {
    Error_Handler();
  }
  /** Configure for the selected ADC regular channel its corresponding rank in the sequencer and its sample time.
  */
  sConfig.Channel = ADC_CHANNEL_15;
  sConfig.Rank = 1;
  sConfig.SamplingTime = ADC_SAMPLETIME_3CYCLES;
  if (HAL_ADC_ConfigChannel(&hadc2, &sConfig) != HAL_OK)
  {
    Error_Handler();
  }

}

static void MX_I2C1_Init(void)
{

  hi2c1.Instance = I2C1;
  hi2c1.Init.ClockSpeed = 100000;
  hi2c1.Init.DutyCycle = I2C_DUTYCYCLE_2;
  hi2c1.Init.OwnAddress1 = 0;
  hi2c1.Init.AddressingMode = I2C_ADDRESSINGMODE_7BIT;
  hi2c1.Init.DualAddressMode = I2C_DUALADDRESS_DISABLE;
  hi2c1.Init.OwnAddress2 = 0;
  hi2c1.Init.GeneralCallMode = I2C_GENERALCALL_DISABLE;
  hi2c1.Init.NoStretchMode = I2C_NOSTRETCH_DISABLE;
  if (HAL_I2C_Init(&hi2c1) != HAL_OK)
  {
    Error_Handler();
  }

}

static void MX_I2C2_Init(void)
{

  hi2c2.Instance = I2C2;
  hi2c2.Init.ClockSpeed = 100000;
  hi2c2.Init.DutyCycle = I2C_DUTYCYCLE_2;
  hi2c2.Init.OwnAddress1 = 108;
  hi2c2.Init.AddressingMode = I2C_ADDRESSINGMODE_7BIT;
  hi2c2.Init.DualAddressMode = I2C_DUALADDRESS_DISABLE;
  hi2c2.Init.OwnAddress2 = 0;
  hi2c2.Init.GeneralCallMode = I2C_GENERALCALL_DISABLE;
  hi2c2.Init.NoStretchMode = I2C_NOSTRETCH_DISABLE;
  if (HAL_I2C_Init(&hi2c2) != HAL_OK)
  {
    Error_Handler();
  }

}

static void MX_I2C3_Init(void)
{

  hi2c3.Instance = I2C3;
  hi2c3.Init.ClockSpeed = 100000;
  hi2c3.Init.DutyCycle = I2C_DUTYCYCLE_2;
  hi2c3.Init.OwnAddress1 = 0;
  hi2c3.Init.AddressingMode = I2C_ADDRESSINGMODE_7BIT;
  hi2c3.Init.DualAddressMode = I2C_DUALADDRESS_DISABLE;
  hi2c3.Init.OwnAddress2 = 0;
  hi2c3.Init.GeneralCallMode = I2C_GENERALCALL_DISABLE;
  hi2c3.Init.NoStretchMode = I2C_NOSTRETCH_DISABLE;
  if (HAL_I2C_Init(&hi2c3) != HAL_OK)
  {
    Error_Handler();
  }

}

static void MX_TIM2_Init(void)
{

  TIM_ClockConfigTypeDef sClockSourceConfig = {0};
  TIM_MasterConfigTypeDef sMasterConfig = {0};
  TIM_IC_InitTypeDef sConfigIC = {0};

  htim2.Instance = TIM2;
  htim2.Init.Prescaler = 83;
  htim2.Init.CounterMode = TIM_COUNTERMODE_UP;
  htim2.Init.Period = 65536;
  htim2.Init.ClockDivision = TIM_CLOCKDIVISION_DIV1;
  htim2.Init.AutoReloadPreload = TIM_AUTORELOAD_PRELOAD_DISABLE;
  if (HAL_TIM_Base_Init(&htim2) != HAL_OK)
  {
    Error_Handler();
  }
  sClockSourceConfig.ClockSource = TIM_CLOCKSOURCE_INTERNAL;
  if (HAL_TIM_ConfigClockSource(&htim2, &sClockSourceConfig) != HAL_OK)
  {
    Error_Handler();
  }
  if (HAL_TIM_IC_Init(&htim2) != HAL_OK)
  {
    Error_Handler();
  }
  sMasterConfig.MasterOutputTrigger = TIM_TRGO_RESET;
  sMasterConfig.MasterSlaveMode = TIM_MASTERSLAVEMODE_DISABLE;
  if (HAL_TIMEx_MasterConfigSynchronization(&htim2, &sMasterConfig) != HAL_OK)
  {
    Error_Handler();
  }
  sConfigIC.ICPolarity = TIM_INPUTCHANNELPOLARITY_RISING;
  sConfigIC.ICSelection = TIM_ICSELECTION_DIRECTTI;
  sConfigIC.ICPrescaler = TIM_ICPSC_DIV1;
  sConfigIC.ICFilter = 0;
  if (HAL_TIM_IC_ConfigChannel(&htim2, &sConfigIC, TIM_CHANNEL_1) != HAL_OK)
  {
    Error_Handler();
  }
  if (HAL_TIM_IC_ConfigChannel(&htim2, &sConfigIC, TIM_CHANNEL_2) != HAL_OK)
  {
    Error_Handler();
  }

}

static void MX_TIM3_Init(void)
{

  TIM_ClockConfigTypeDef sClockSourceConfig = {0};
  TIM_MasterConfigTypeDef sMasterConfig = {0};
  TIM_OC_InitTypeDef sConfigOC = {0};

  htim3.Instance = TIM3;
  htim3.Init.Prescaler = 83;
  htim3.Init.CounterMode = TIM_COUNTERMODE_UP;
  htim3.Init.Period = 22000;
  htim3.Init.ClockDivision = TIM_CLOCKDIVISION_DIV1;
  htim3.Init.AutoReloadPreload = TIM_AUTORELOAD_PRELOAD_DISABLE;
  if (HAL_TIM_Base_Init(&htim3) != HAL_OK)
  {
    Error_Handler();
  }
  sClockSourceConfig.ClockSource = TIM_CLOCKSOURCE_INTERNAL;
  if (HAL_TIM_ConfigClockSource(&htim3, &sClockSourceConfig) != HAL_OK)
  {
    Error_Handler();
  }
  if (HAL_TIM_PWM_Init(&htim3) != HAL_OK)
  {
    Error_Handler();
  }
  sMasterConfig.MasterOutputTrigger = TIM_TRGO_RESET;
  sMasterConfig.MasterSlaveMode = TIM_MASTERSLAVEMODE_DISABLE;
  if (HAL_TIMEx_MasterConfigSynchronization(&htim3, &sMasterConfig) != HAL_OK)
  {
    Error_Handler();
  }
  sConfigOC.OCMode = TIM_OCMODE_PWM1;
  sConfigOC.Pulse = 0;
  sConfigOC.OCPolarity = TIM_OCPOLARITY_HIGH;
  sConfigOC.OCFastMode = TIM_OCFAST_DISABLE;
  if (HAL_TIM_PWM_ConfigChannel(&htim3, &sConfigOC, TIM_CHANNEL_1) != HAL_OK)
  {
    Error_Handler();
  }
  if (HAL_TIM_PWM_ConfigChannel(&htim3, &sConfigOC, TIM_CHANNEL_2) != HAL_OK)
  {
    Error_Handler();
  }
  if (HAL_TIM_PWM_ConfigChannel(&htim3, &sConfigOC, TIM_CHANNEL_3) != HAL_OK)
  {
    Error_Handler();
  }
  if (HAL_TIM_PWM_ConfigChannel(&htim3, &sConfigOC, TIM_CHANNEL_4) != HAL_OK)
  {
    Error_Handler();
  }
  HAL_TIM_MspPostInit(&htim3);

}

static void MX_TIM4_Init(void)
{

  TIM_ClockConfigTypeDef sClockSourceConfig = {0};
  TIM_MasterConfigTypeDef sMasterConfig = {0};
  TIM_IC_InitTypeDef sConfigIC = {0};

  htim4.Instance = TIM4;
  htim4.Init.Prescaler = 83;
  htim4.Init.CounterMode = TIM_COUNTERMODE_UP;
  htim4.Init.Period = 65535;
  htim4.Init.ClockDivision = TIM_CLOCKDIVISION_DIV1;
  htim4.Init.AutoReloadPreload = TIM_AUTORELOAD_PRELOAD_DISABLE;
  if (HAL_TIM_Base_Init(&htim4) != HAL_OK)
  {
    Error_Handler();
  }
  sClockSourceConfig.ClockSource = TIM_CLOCKSOURCE_INTERNAL;
  if (HAL_TIM_ConfigClockSource(&htim4, &sClockSourceConfig) != HAL_OK)
  {
    Error_Handler();
  }
  if (HAL_TIM_IC_Init(&htim4) != HAL_OK)
  {
    Error_Handler();
  }
  sMasterConfig.MasterOutputTrigger = TIM_TRGO_RESET;
  sMasterConfig.MasterSlaveMode = TIM_MASTERSLAVEMODE_DISABLE;
  if (HAL_TIMEx_MasterConfigSynchronization(&htim4, &sMasterConfig) != HAL_OK)
  {
    Error_Handler();
  }
  sConfigIC.ICPolarity = TIM_INPUTCHANNELPOLARITY_RISING;
  sConfigIC.ICSelection = TIM_ICSELECTION_DIRECTTI;
  sConfigIC.ICPrescaler = TIM_ICPSC_DIV1;
  sConfigIC.ICFilter = 0;
  if (HAL_TIM_IC_ConfigChannel(&htim4, &sConfigIC, TIM_CHANNEL_1) != HAL_OK)
  {
    Error_Handler();
  }
  if (HAL_TIM_IC_ConfigChannel(&htim4, &sConfigIC, TIM_CHANNEL_2) != HAL_OK)
  {
    Error_Handler();
  }

}

static void MX_TIM5_Init(void)
{

  TIM_ClockConfigTypeDef sClockSourceConfig = {0};
  TIM_MasterConfigTypeDef sMasterConfig = {0};
  TIM_IC_InitTypeDef sConfigIC = {0};
  TIM_OC_InitTypeDef sConfigOC = {0};

  htim5.Instance = TIM5;
  htim5.Init.Prescaler = 83;
  htim5.Init.CounterMode = TIM_COUNTERMODE_UP;
  htim5.Init.Period = 22000;
  htim5.Init.ClockDivision = TIM_CLOCKDIVISION_DIV1;
  htim5.Init.AutoReloadPreload = TIM_AUTORELOAD_PRELOAD_DISABLE;
  if (HAL_TIM_Base_Init(&htim5) != HAL_OK)
  {
    Error_Handler();
  }
  sClockSourceConfig.ClockSource = TIM_CLOCKSOURCE_INTERNAL;
  if (HAL_TIM_ConfigClockSource(&htim5, &sClockSourceConfig) != HAL_OK)
  {
    Error_Handler();
  }
  if (HAL_TIM_IC_Init(&htim5) != HAL_OK)
  {
    Error_Handler();
  }
  if (HAL_TIM_PWM_Init(&htim5) != HAL_OK)
  {
    Error_Handler();
  }
  sMasterConfig.MasterOutputTrigger = TIM_TRGO_RESET;
  sMasterConfig.MasterSlaveMode = TIM_MASTERSLAVEMODE_DISABLE;
  if (HAL_TIMEx_MasterConfigSynchronization(&htim5, &sMasterConfig) != HAL_OK)
  {
    Error_Handler();
  }
  sConfigIC.ICPolarity = TIM_INPUTCHANNELPOLARITY_RISING;
  sConfigIC.ICSelection = TIM_ICSELECTION_DIRECTTI;
  sConfigIC.ICPrescaler = TIM_ICPSC_DIV1;
  sConfigIC.ICFilter = 0;
  if (HAL_TIM_IC_ConfigChannel(&htim5, &sConfigIC, TIM_CHANNEL_1) != HAL_OK)
  {
    Error_Handler();
  }
  if (HAL_TIM_IC_ConfigChannel(&htim5, &sConfigIC, TIM_CHANNEL_2) != HAL_OK)
  {
    Error_Handler();
  }
  sConfigOC.OCMode = TIM_OCMODE_PWM1;
  sConfigOC.Pulse = 0;
  sConfigOC.OCPolarity = TIM_OCPOLARITY_HIGH;
  sConfigOC.OCFastMode = TIM_OCFAST_DISABLE;
  if (HAL_TIM_PWM_ConfigChannel(&htim5, &sConfigOC, TIM_CHANNEL_3) != HAL_OK)
  {
    Error_Handler();
  }
  if (HAL_TIM_PWM_ConfigChannel(&htim5, &sConfigOC, TIM_CHANNEL_4) != HAL_OK)
  {
    Error_Handler();
  }
  HAL_TIM_MspPostInit(&htim5);

}

static void MX_TIM6_Init(void)
{

  TIM_MasterConfigTypeDef sMasterConfig = {0};

  htim6.Instance = TIM6;
  htim6.Init.Prescaler = 83;
  htim6.Init.CounterMode = TIM_COUNTERMODE_UP;
  htim6.Init.Period = 99;
  htim6.Init.AutoReloadPreload = TIM_AUTORELOAD_PRELOAD_DISABLE;
  if (HAL_TIM_Base_Init(&htim6) != HAL_OK)
  {
    Error_Handler();
  }
  sMasterConfig.MasterOutputTrigger = TIM_TRGO_UPDATE;
  sMasterConfig.MasterSlaveMode = TIM_MASTERSLAVEMODE_DISABLE;
  if (HAL_TIMEx_MasterConfigSynchronization(&htim6, &sMasterConfig) != HAL_OK)
  {
    Error_Handler();
  }

}

static void MX_USART2_UART_Init(void)
{

  huart2.Instance = USART2;
  huart2.Init.BaudRate = 115200;
  huart2.Init.WordLength = UART_WORDLENGTH_8B;
  huart2.Init.StopBits = UART_STOPBITS_1;
  huart2.Init.Parity = UART_PARITY_NONE;
  huart2.Init.Mode = UART_MODE_TX_RX;
  huart2.Init.HwFlowCtl = UART_HWCONTROL_NONE;
  huart2.Init.OverSampling = UART_OVERSAMPLING_16;
  if (HAL_UART_Init(&huart2) != HAL_OK)
  {
    Error_Handler();
  }

}

static void MX_USART3_UART_Init(void)
{

  huart3.Instance = USART3;
  huart3.Init.BaudRate = 38400;
  huart3.Init.WordLength = UART_WORDLENGTH_8B;
  huart3.Init.StopBits = UART_STOPBITS_1;
  huart3.Init.Parity = UART_PARITY_NONE;
  huart3.Init.Mode = UART_MODE_TX_RX;
  huart3.Init.HwFlowCtl = UART_HWCONTROL_NONE;
  huart3.Init.OverSampling = UART_OVERSAMPLING_16;
  if (HAL_UART_Init(&huart3) != HAL_OK)
  {
    Error_Handler();
  }

}

static void MX_GPIO_Init(void)
{
  GPIO_InitTypeDef GPIO_InitStruct = {0};

  /* GPIO Ports Clock Enable */
  __HAL_RCC_GPIOH_CLK_ENABLE();
  __HAL_RCC_GPIOA_CLK_ENABLE();
  __HAL_RCC_GPIOC_CLK_ENABLE();
  __HAL_RCC_GPIOB_CLK_ENABLE();
  __HAL_RCC_GPIOE_CLK_ENABLE();
  __HAL_RCC_GPIOD_CLK_ENABLE();

  /*Configure GPIO pin Output Level */
  HAL_GPIO_WritePin(GPIOE, GPIO_PIN_7, GPIO_PIN_RESET);

  /*Configure GPIO pin Output Level */
  HAL_GPIO_WritePin(GPIOD, GPIO_PIN_13, GPIO_PIN_RESET);

  /*Configure GPIO pin : PE7 */
  GPIO_InitStruct.Pin = GPIO_PIN_7;
  GPIO_InitStruct.Mode = GPIO_MODE_OUTPUT_PP;
  GPIO_InitStruct.Pull = GPIO_NOPULL;
  GPIO_InitStruct.Speed = GPIO_SPEED_FREQ_LOW;
  HAL_GPIO_Init(GPIOE, &GPIO_InitStruct);

  /*Configure GPIO pin : PD13 */
  GPIO_InitStruct.Pin = GPIO_PIN_13;
  GPIO_InitStruct.Mode = GPIO_MODE_OUTPUT_PP;
  GPIO_InitStruct.Pull = GPIO_NOPULL;
  GPIO_InitStruct.Speed = GPIO_SPEED_FREQ_LOW;
  HAL_GPIO_Init(GPIOD, &GPIO_InitStruct);

}

void StartDefaultTask(void *argument)
{
  /* USER CODE BEGIN 5 */
  /* Infinite loop */
  for(;;)
  {
    osDelay(1000);
  }
  /* USER CODE END 5 */
}

void sensorsUpdateTask(void *argument)
{
  /* USER CODE BEGIN sensorsUpdateTask */
	//MPXV7002 mpxv7002(hadc1);

	BNO055 bno055(&hi2c3);
	osDelay(700);
	bno055.setup();
	osDelay(700);
	bno055.setOperationModeNDOF();
	bno055_vector_t omega;
	bno055_vector_t euler;
	bno055_vector_t accel;

	gps.Start();

	MS4525DO ms4525do(&hi2c2, 0.01);
  /* Infinite loop */
	for(;;)
	{
		omega = bno055.getVectorGyroscopeRemap();
		euler = bno055.getVectorEulerRemap();
		accel = bno055.getVectorAccelerometerRemap();

		data_input[GYROX] = omega.x;
		data_input[GYROY] = omega.y;
		data_input[GYROZ] = omega.z;
		data_input[TETA] = euler.z;
		data_input[GAMMA] = euler.x;
		data_input[PSI] = euler.y;
		data_input[NZ] = accel.z;
		//data_input[AIR] = ms4525do.getAirSpeed();
		//data_input[BETA] = p3002.getAngle();

		if( gps.gpsData.valid )
		{
			data_input[LATITUDE] = (double) minmea_tocoord(&gps.gpsData.latitude);
			data_input[LONGITUDE] = (double) minmea_tocoord(&gps.gpsData.longitude);
			data_input[GPS_SPEED] = (double) minmea_tofloat(&gps.gpsData.speed) * 0.51; //перевод в м/с из узлов
			data_input[TRACK] = (double) minmea_tofloat(&gps.gpsData.course);
		}
		data_input[GPS_VALID] = (double) gps.gpsData.valid;
		data_input[AIR] = data_input[GPS_SPEED];

		osDelay(10);//ещё 5 мС внутри либы airspeed
	}
  /* USER CODE END sensorsUpdateTask */
}

void modeUpdateTask(void *argument)
{
  /* USER CODE BEGIN modeUpdateTask */
  /* Infinite loop */
  for(;;)
  {
	  flapsUpdate(g_activate_flaps);
	  setMode();
	  updateModeState();
	  osDelay(10);
  }
  /* USER CODE END modeUpdateTask */
}

void radioInputUpdateTask(void *argument)
{
  /* USER CODE BEGIN radioInputUpdateTask */
  /* Infinite loop */
  for(;;)
  {
	  updateRcInput();
	  osDelay(50);
  }
  /* USER CODE END radioInputUpdateTask */
}

void loggerUpdateTask(void *argument)
{
  /* USER CODE BEGIN loggerUpdateTask */

	/* Infinite loop */
	for(;;)
	{
		memset(str, '\0', sizeof(str));
		#ifndef DEBUG_MODE
			sprintf(str, "%d;%d;%d;%d;%d;%d;%d;%d;%d;%d;%d;%d;%d;%d;%d;%d;%d;%d;%d;%d;%d;%d;%d;%d;%d;%d;%d;%d;%d;%d;%d",\
					(int)HAL_GetTick(), (int)(10*logger_data[OMEGA_X_ZAD]), (int)(data_input[GYROX]*10),\
					(int)(10*logger_data[OMEGA_Y_ZAD]), (int)(data_input[GYROY]*10), (int)(10*logger_data[OMEGA_Z_ZAD]),\
					(int)(data_input[GYROZ]*10), (int)(data_input[BAROFILTERED]*100), (int)(10*logger_data[ALT_ZAD]), (int)(100*logger_data[VY_ZAD]),\
					(int)(100*data_input[BAROVY]), (int)(100*data_input[AIR]),	(int)(logger_data[K_PR_OMEGA_X]*10),\
					(int)(100*logger_data[K_INT_OMEGA_X]), (int)(10*logger_data[K_PR_OMEGA_Y]), (int)(100*logger_data[K_INT_OMEGA_Y]),\
					(int)(10*logger_data[K_PR_OMEGA_Z]), (int)(100*logger_data[K_INT_OMEGA_Z]), (int)(10*k_pr_Vy),\
					(int)(data_input[TETA]*10), (int)(data_input[GAMMA]*10), (int)(data_input[PSI]*10),\
					(int)(data_input[NZ]*1000), (int)(10*logger_data[OMEGA_TURN_ZAD]), (int)(10*logger_data[GAMMA_ZAD]), (int)(data_input[LONGITUDE]*1000000), (int)(data_input[LATITUDE]*1000000),\
					(int)(data_input[GPS_SPEED]*100), (int)(data_input[TRACK]*10), (int)(data_input[GPS_VALID]), (int)switch_rc.getPulseWidth());
		#else
			#if DEBUG_MODE == BARO_DEBUG
				sprintf(str, "%d %d %d\n", (int)(data_input[BARO]*100), (int)(logger_data[ALT_FILTERED]*100), (int)(100*data_input[BAROVY]));
			#elif DEBUG_MODE == GYRO_DEBUG
				//sprintf(str, "omega_x=%d, omega_y=%d, omega_z=%d\n", (int)(data_input[GYROX]*10), (int)(data_input[GYROY]*10), (int)(data_input[GYROZ]*10));
				sprintf(str, "%d %d\n", (int)(data_input[GYROZ]*10), (int)(logger_data[OMEGA_Z_ZAD]*10));
			#elif DEBUG_MODE == AIR_DEBUG
				sprintf(str, "%d\n", (int)(1000*data_input[AIR]));
			#elif DEBUG_MODE == RADIO_DEBUG
				sprintf(str, "thr=%d, elev=%d, ail1=%d, ail2=%d, rud=%d, switchA=%d, arm=%d\n", rc_input[THR], rc_input[ELEV], rc_input[AIL1], rc_input[AIL2], rc_input[RUD], rc_input[SWITCHA], rc_input[SLIDER]);
			#elif DEBUG_MODE == BETA_DEBUG
				sprintf(str, "beta=%d\n", (int)data_input[BETA]);
			#endif
		#endif
		HAL_UART_Transmit_IT(&huart2, (uint8_t*)str, sizeof(str));
		osDelay(100);
	}
  /* USER CODE END loggerUpdateTask */
}

void actuatorsUpdateTask(void *argument)
{
  /* USER CODE BEGIN actuatorsUpdateTask */
  /* Infinite loop */
	osDelay(WHAIT_FOR_RADIO_MS);
  for(;;)
  {
	  updateActuators();
	  osDelay(50);
  }
  /* USER CODE END actuatorsUpdateTask */
}

void baroUpdateTask(void *argument)
{
  /* USER CODE BEGIN baroUpdateTask */
  /* Infinite loop */

	MS5611 ms5611(0x77, &hi2c1, 100, 0.02);
	ms5611.updateQFE(); //remembering QFE pressure when creating object

	for(;;)
	{
		ms5611.calcAltitude();
		data_input[BARO] = ms5611.getRawAltitude();

		ms5611.calcVerticalSpeed();
		data_input[BAROFILTERED] = ms5611.getFilterAltitude();
		data_input[BAROVY] = ms5611.getVerticalSpeed();

		osDelay(2);// в функции вычисления высоты 2 задержки по 9 мС -> цикличность вызоыва каждые 20 мС
	}
  /* USER CODE END baroUpdateTask */
}

void navUpdateTask(void *argument)
{
	/* USER CODE BEGIN navUpdateTask */
	setRoute();
	/* Infinite loop */
	for(;;)
	{
		if( current_mode == NAV )
			navModeUpdate();

		osDelay(100);
	}
	/* USER CODE END navUpdateTask */
}

 /**
  * @brief  Period elapsed callback in non blocking mode
  * @note   This function is called  when TIM14 interrupt took place, inside
  * HAL_TIM_IRQHandler(). It makes a direct call to HAL_IncTick() to increment
  * a global variable "uwTick" used as application time base.
  * @param  htim : TIM handle
  * @retval None
  */
void HAL_TIM_PeriodElapsedCallback(TIM_HandleTypeDef *htim)
{
  if (htim->Instance == TIM14) {
    HAL_IncTick();
  }
}

void Error_Handler(void)
{
  /* USER CODE BEGIN Error_Handler_Debug */
  /* User can add his own implementation to report the HAL error return state */
	//sprintf(str, "thr=%d, elev=%d, ail1=%d. ail2=%d, rud=%d, switchA=%d, arm=%d\n", rc_input[THR], rc_input[ELEV], rc_input[AIL1], rc_input[AIL2], rc_input[RUD], rc_input[SWITCHA], rc_input[SLIDER]);
			HAL_UART_Transmit_IT(&huart2, (uint8_t*)"fuck", 4);
  /* USER CODE END Error_Handler_Debug */
}

/************************ (C) COPYRIGHT STMicroelectronics *****END OF FILE****/

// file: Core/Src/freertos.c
/* USER CODE BEGIN Header */
/**
  ******************************************************************************
  * File Name          : freertos.c
  * Description        : Code for freertos applications
  ******************************************************************************
  * @attention
  *
  * <h2><center>&copy; Copyright (c) 2021 STMicroelectronics.
  * All rights reserved.</center></h2>
  *
  * This software component is licensed by ST under Ultimate Liberty license
  * SLA0044, the "License"; You may not use this file except in compliance with
  * the License. You may obtain a copy of the License at:
  *                             www.st.com/SLA0044
  *
  ******************************************************************************
  */
/* USER CODE END Header */

#include "FreeRTOS.h"
#include "task.h"
#include "main.h"

/* USER CODE BEGIN Includes */
#include "cmsis_os.h"
/* USER CODE END Includes */

/* USER CODE BEGIN Variables */
/* Definitions for defaultTask */
osThreadId_t defaultTaskHandle;
const osThreadAttr_t defaultTask_attributes = {
  .name = "defaultTask",
  .priority = (osPriority_t) osPriorityLow,
  .stack_size = 128 * 4
};
/* Definitions for sensorsUpdate */
osThreadId_t sensorsUpdateHandle;
const osThreadAttr_t sensorsUpdate_attributes = {
  .name = "sensorsUpdate",
  .priority = (osPriority_t) osPriorityNormal,
  .stack_size = 1024 * 4
};
/* Definitions for modeUpdate */
osThreadId_t modeUpdateHandle;
const osThreadAttr_t modeUpdate_attributes = {
  .name = "modeUpdate",
  .priority = (osPriority_t) osPriorityNormal,
  .stack_size = 256 * 4
};
/* Definitions for radioInputUpdat */
osThreadId_t radioInputUpdatHandle;
const osThreadAttr_t radioInputUpdat_attributes = {
  .name = "radioInputUpdat",
  .priority = (osPriority_t) osPriorityNormal,
  .stack_size = 512 * 4
};
/* Definitions for loggerUpdate */
osThreadId_t loggerUpdateHandle;
const osThreadAttr_t loggerUpdate_attributes = {
  .name = "loggerUpdate",
  .priority = (osPriority_t) osPriorityLow,
  .stack_size = 1024 * 4
};
/* Definitions for actuatorsUpdate */
osThreadId_t actuatorsUpdateHandle;
const osThreadAttr_t actuatorsUpdate_attributes = {
  .name = "actuatorsUpdate",
  .priority = (osPriority_t) osPriorityNormal,
  .stack_size = 512 * 4
};
/* Definitions for baroUpdate */
osThreadId_t baroUpdateHandle;
const osThreadAttr_t baroUpdate_attributes = {
  .name = "baroUpdate",
  .priority = (osPriority_t) osPriorityNormal,
  .stack_size = 1024 * 4
};
/* Definitions for navUpdate */
osThreadId_t navUpdateHandle;
const osThreadAttr_t navUpdate_attributes = {
  .name = "navUpdate",
  .priority = (osPriority_t) osPriorityNormal,
  .stack_size = 256 * 4
};
/* USER CODE END Variables */

/* Hook prototypes */
void vApplicationIdleHook(void);

/* USER CODE BEGIN 2 */
void vApplicationIdleHook( void )
{
   /* vApplicationIdleHook() will only be called if configUSE_IDLE_HOOK is set
   to 1 in FreeRTOSConfig.h. It will be called on each iteration of the idle
   task. It is essential that code added to this hook function never attempts
   to block in any way (for example, call xQueueReceive() with a block time
   specified, or call vTaskDelay()). If the application makes use of the
   vTaskDelete() API function (as this demo application does) then it is also
   important that vApplicationIdleHook() is permitted to return to its calling
   function, because it is the responsibility of the idle task to clean up
   memory allocated by the kernel to any task that has since been deleted. */
}
/* USER CODE END 2 */

/************************ (C) COPYRIGHT STMicroelectronics *****END OF FILE****/
